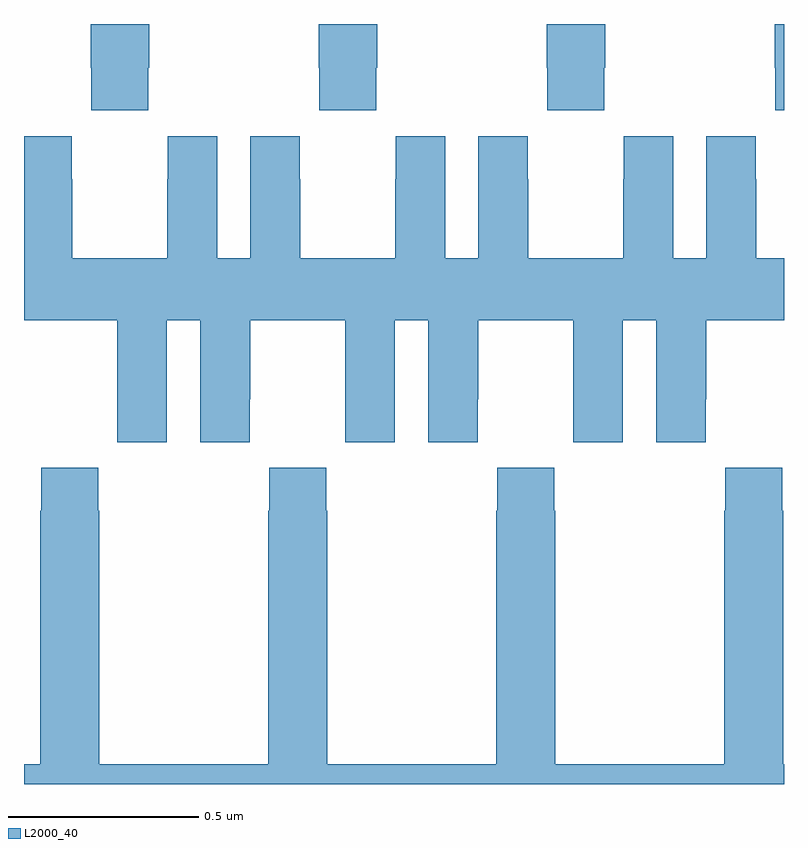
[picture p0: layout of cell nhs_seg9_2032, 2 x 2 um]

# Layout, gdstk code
import gdstk
lib = gdstk.Library(unit=1e-6, precision=1e-09)
def P(c, l, *ps):  # polygons
    for p in ps: c.add(gdstk.Polygon(p, *l))
L2000_40 = (2000, 40)

nhs_seg9_2032 = lib.new_cell('nhs_seg9_2032')
P(nhs_seg9_2032, L2000_40, [(135.175,1230.385),(135.177,1230.385),(135.177,1230.273),(135.327,1230.273),(135.327,1230.385),(135.33,1230.385),(135.33,1230.5),(135.175,1230.5)],
  [(135.927,1230.385),(135.93,1230.385),(135.93,1230.5),(135.775,1230.5),(135.775,1230.385),(135.777,1230.385),(135.777,1230.273),(135.927,1230.273)],
  [(136.527,1230.385),(136.53,1230.385),(136.53,1230.5),(136.375,1230.5),(136.375,1230.385),(136.377,1230.385),(136.377,1230.273),(136.527,1230.273)],
  [(137,1230.5),(136.975,1230.5),(136.975,1230.385),(136.977,1230.385),(136.977,1230.273),(137,1230.273)],
  [(135.376,1229.72),(135.464,1229.72),(135.464,1229.4),(135.594,1229.4),(135.594,1229.512),(135.595,1229.512),(135.595,1229.72),(135.845,1229.72),(135.845,1229.512),(135.846,1229.512),(135.846,1229.4),(135.976,1229.4),(135.976,1229.72),(136.064,1229.72),(136.064,1229.4),(136.194,1229.4),(136.194,1229.512),(136.195,1229.512),(136.195,1229.72),(136.445,1229.72),(136.445,1229.512),(136.446,1229.512),(136.446,1229.4),(136.576,1229.4),(136.576,1229.72),(136.664,1229.72),(136.664,1229.4),(136.794,1229.4),(136.794,1229.512),(136.795,1229.512),(136.795,1229.72),(137,1229.72),(137,1229.884),(136.927,1229.884),(136.927,1230.092),(136.926,1230.092),(136.926,1230.205),(136.796,1230.205),(136.796,1229.884),(136.708,1229.884),(136.708,1230.205),(136.578,1230.205),(136.578,1230.092),(136.577,1230.092),(136.577,1229.884),(136.327,1229.884),(136.327,1230.092),(136.326,1230.092),(136.326,1230.205),(136.196,1230.205),(136.196,1229.884),(136.108,1229.884),(136.108,1230.205),(135.978,1230.205),(135.978,1230.092),(135.977,1230.092),(135.977,1229.884),(135.727,1229.884),(135.727,1230.092),(135.726,1230.092),(135.726,1230.205),(135.596,1230.205),(135.596,1229.884),(135.508,1229.884),(135.508,1230.205),(135.378,1230.205),(135.378,1230.092),(135.377,1230.092),(135.377,1229.884),(135.127,1229.884),(135.127,1230.092),(135.126,1230.092),(135.126,1230.205),(135,1230.205),(135,1229.72),(135.245,1229.72),(135.245,1229.512),(135.246,1229.512),(135.246,1229.4),(135.376,1229.4)],
  [(135.045,1229.219),(135.043,1229.219),(135.043,1228.552),(135,1228.552),(135,1228.5),(137,1228.5),(137,1228.552),(136.998,1228.552),(136.998,1229.219),(136.995,1229.219),(136.995,1229.332),(136.845,1229.332),(136.845,1229.219),(136.843,1229.219),(136.843,1228.552),(136.398,1228.552),(136.398,1229.219),(136.395,1229.219),(136.395,1229.332),(136.245,1229.332),(136.245,1229.219),(136.243,1229.219),(136.243,1228.552),(135.798,1228.552),(135.798,1229.219),(135.795,1229.219),(135.795,1229.332),(135.645,1229.332),(135.645,1229.219),(135.643,1229.219),(135.643,1228.552),(135.198,1228.552),(135.198,1229.219),(135.195,1229.219),(135.195,1229.332),(135.045,1229.332)])

lib.write_gds('nhs_seg9_2032.gds')
